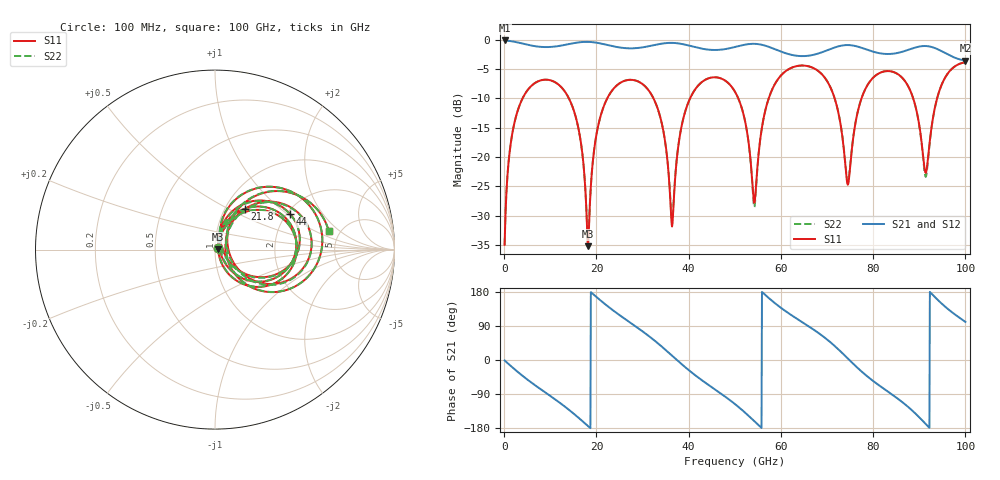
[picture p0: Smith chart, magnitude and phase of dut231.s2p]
! Touchstone file exported from HFSS 2026.1.0
!  File:  C:/ffzhzh/LocalFiles/Ansys_Project_Files/temp_train_TSV_RDL_231_1783664897_29156.aedt
!  Generated:  02:35:25 PM Jul 10, 2026
!  Design:  TSV_RDL
!  Project:  temp_train_TSV_RDL_231_1783664897_29156
! Variables:
!  h_bsmrdl = 4.15um
!  h_ox = 20um
!  h_rdl = 5um
!  h_sub = 60.49um
!  h_tmrdl = 3.27um
!  h_tsv = 60.49um
!  h_via = 3um
!  l_bsmrdl = 225.44um
!  l_sub = 3234.88um
!  l_tmrdl = 511.56um
!  m_sub = 200um
!  pitch = 46.7um
!  r_tsv = 13.82um
!  s_tmrdl = 10um
!  w_bsmrdl = 13.56um
!  w_sub = 500um
!  w_tmrdl = 23.88um
!  x_tsv_center1 = 523.5um
!  x_tsv_center2 = 762.5um
!  x_tsv_center3 = 1297.94um
!  x_tsv_center4 = 1536.94um
!  x_tsv_center5 = 2072.38um
!  x_tsv_center6 = 2311.38um
# GHz S MA R 50.000000
! Terminal data exported
! Port[1] = TM_RDL1_1_T1
! Port[2] = TM_RDL5_1_T1
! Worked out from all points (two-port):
!   1000 points, 100 MHz to 100 GHz, reference 50 ohm
!   highest |S21| = -0.13 dB at 100 MHz (marker M1); lowest = -3.5 dB at 100 GHz (marker M2)
!   |S21| within 3 dB of the highest: start of sweep to 97.91 GHz
!   lowest |S11| = -35.2 dB at 18.2 GHz (marker M3), VSWR 1.04, Z = 51.7 + j0.28 ohm
!   |S11| at or under -10 dB: 14.04 GHz to 22.35 GHz (8.317 GHz wide, 45.7 % of centre); 32.38 GHz to 40.31 GHz (7.935 GHz wide, 21.8 % of centre); 50.76 GHz to 57.36 GHz (6.603 GHz wide, 12.2 % of centre) (the widest 3 of 6)
!   |S22| runs from -35.0 to -3.9 dB; largest |S21 - S12| = 1.1e-12
!   S11 on the Smith chart (normalised r, x): 100 MHz: 1.03, +0.02; 21.8 GHz: 1.23, +0.61; 44 GHz: 2.09, +1.05; 100 GHz: 4.04, +1.44
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0.1  0.01786 33.9  0.9853 -1.2  0.9853 -1.2  0.01786 33.9
! Gamma 0 0 0 0
! Port Impedance 50 0 50 0
1.9  0.1696 62.8  0.9659 -20.6  0.9659 -20.6  0.1696 62.8
5.8  0.4006 28.3  0.8932 -58.6  0.8932 -58.6  0.4005 28.4
16.8  0.1197 -63.4  0.9548 -159.5  0.9548 -159.5  0.1198 -62.7
18.2  0.01739 9.0  0.9584 -174.5  0.9584 -174.5  0.01911 9.1
21.8  0.2834 53.7  0.9126 148.1  0.9126 148.1  0.2836 53.4
33.4  0.2509 -43.1  0.9143 43.4  0.9143 43.4  0.251 -42.6
36.4  0.02557 9.4  0.9396 11.5  0.9396 11.5  0.02903 9.9
39.1  0.2326 65.9  0.9099 -17.4  0.9099 -17.4  0.2333 64.9
44  0.4635 25.3  0.8251 -63.2  0.8251 -63.2  0.4638 24.6
50.1  0.3572 -23.5  0.8678 -116.9  0.8678 -116.9  0.3569 -24.3
54.2  0.04075 12.0  0.9224 -160.9  0.9224 -160.9  0.0375 11.5
58.2  0.3834 59.3  0.8452 155.0  0.8452 155.0  0.3834 59.5
66.7  0.5813 -5.4  0.7381 83.4  0.7381 83.4  0.5815 -5.4
71.5  0.33 -43.1  0.854 38.8  0.854 38.8  0.3305 -42.8
74.5  0.05807 2.5  0.9004 4.1  0.9004 4.1  0.06164 2.5
77.8  0.3421 48.4  0.8449 -33.6  0.8449 -33.6  0.3429 47.5
83.4  0.5399 4.8  0.7555 -85.1  0.7555 -85.1  0.5402 4.1
88.3  0.3488 -33.2  0.837 -131.4  0.837 -131.4  0.3483 -34.3
91.4  0.07319 10.7  0.8833 -168.8  0.8833 -168.8  0.06783 10.3
94.6  0.3904 51.7  0.8075 151.7  0.8075 151.7  0.3897 52.1
100  0.6418 9.4  0.6646 100.6  0.6646 100.6  0.6418 9.4
